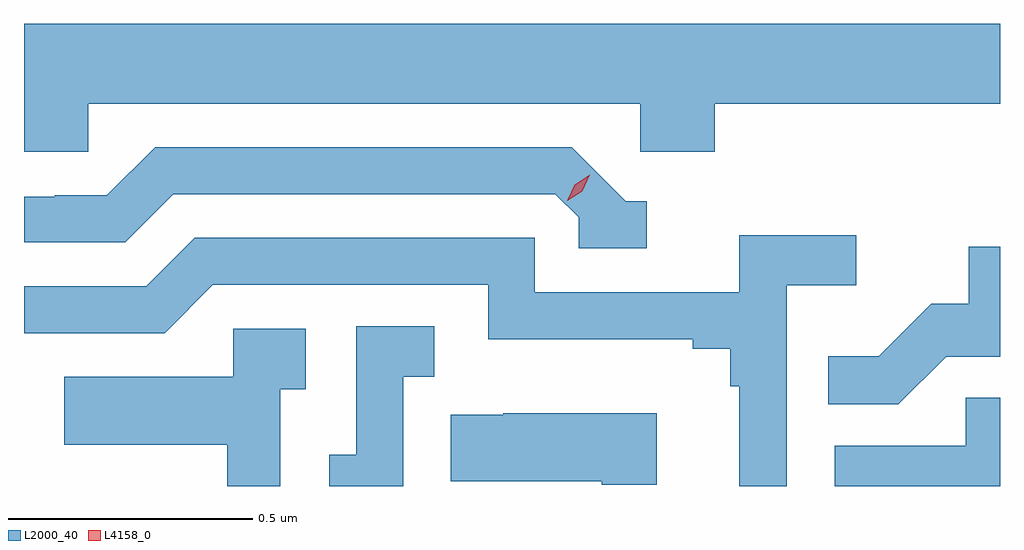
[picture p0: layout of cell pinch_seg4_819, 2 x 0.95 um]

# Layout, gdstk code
import gdstk
lib = gdstk.Library(unit=1e-6, precision=1e-09)
def P(c, l, *ps):  # polygons
    for p in ps: c.add(gdstk.Polygon(p, *l))
L2000_40 = (2000, 40)
L4158_0 = (4158, 0)

pinch_seg4_819 = lib.new_cell('pinch_seg4_819')
P(pinch_seg4_819, L2000_40, [(812.943,807.476),(814.074,807.476),(814.074,807.378),(814.226,807.378),(814.226,807.476),(814.811,807.476),(814.811,807.64),(812.811,807.64),(812.811,807.378),(812.943,807.378)],
  [(814.087,807.276),(814.044,807.276),(813.933,807.387),(813.08,807.387),(812.981,807.288),(812.874,807.288),(812.874,807.285),(812.811,807.285),(812.811,807.192),(813.018,807.192),(813.117,807.291),(813.9,807.291),(813.948,807.243),(813.948,807.18),(814.087,807.18)],
  [(814.374,807.104),(814.516,807.104),(814.516,807.206),(814.277,807.206),(814.277,807.09),(813.858,807.09),(813.858,807.201),(813.161,807.201),(813.062,807.102),(812.811,807.102),(812.811,807.006),(813.099,807.006),(813.198,807.105),(813.762,807.105),(813.762,806.993),(814.181,806.993),(814.181,806.974),(814.258,806.974),(814.258,806.897),(814.277,806.897),(814.277,806.692),(814.374,806.692)],
  [(814.701,806.958),(814.811,806.958),(814.811,807.183),(814.747,807.183),(814.747,807.066),(814.67,807.066),(814.563,806.959),(814.459,806.959),(814.459,806.86),(814.603,806.86)],
  [(813.588,806.917),(813.652,806.917),(813.652,807.02),(813.492,807.02),(813.492,806.757),(813.437,806.757),(813.437,806.692),(813.588,806.692)],
  [(813.336,806.891),(813.388,806.891),(813.388,807.015),(813.24,807.015),(813.24,806.917),(812.893,806.917),(812.893,806.777),(813.228,806.777),(813.228,806.692),(813.336,806.692)],
  [(814.811,806.873),(814.741,806.873),(814.741,806.775),(814.472,806.775),(814.472,806.692),(814.811,806.692)],
  [(814.108,806.842),(813.793,806.842),(813.793,806.839),(813.685,806.839),(813.685,806.702),(813.995,806.702),(813.995,806.695),(814.108,806.695)])
P(pinch_seg4_819, L4158_0, [(813.924,807.277),(813.924,807.277),(813.94,807.31),(813.97,807.33),(813.97,807.33),(813.97,807.33),(813.955,807.297),(813.924,807.277)])

lib.write_gds('pinch_seg4_819.gds')
